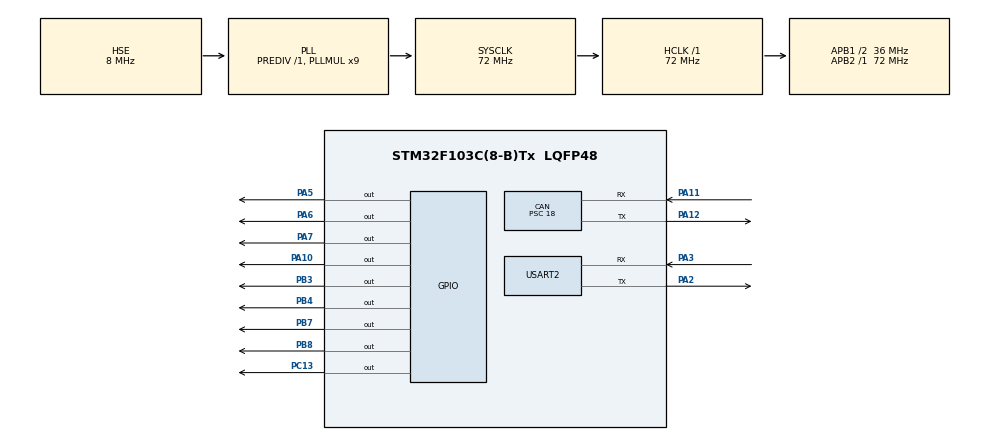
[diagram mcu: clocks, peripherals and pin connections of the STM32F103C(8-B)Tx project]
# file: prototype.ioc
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CAN.BS1=CAN_BS1_2TQ
CAN.CalculateBaudRate=500000
CAN.CalculateTimeBit=2000
CAN.CalculateTimeQuantum=500.0
CAN.Prescaler=18
Mcu.Family=STM32F1
Mcu.Name=STM32F103C(8-B)Tx
Mcu.Package=LQFP48
NVIC.PriorityGroup=NVIC_PRIORITYGROUP_4
NVIC.TIM2_IRQn=true\:0\:0\:false\:false\:true\:true\:true\:true
NVIC.TIM3_IRQn=true\:0\:0\:false\:false\:true\:true\:true\:true
NVIC.USART2_IRQn=true\:0\:0\:false\:false\:true\:true\:true\:true
NVIC.USB_LP_CAN1_RX0_IRQn=true\:0\:0\:false\:false\:true\:true\:true\:true
PA10.Signal=GPIO_Output
PA11.Mode=CAN_Activate
PA11.Signal=CAN_RX
PA12.Mode=CAN_Activate
PA12.Signal=CAN_TX
PA13.Mode=Serial_Wire
PA13.Signal=SYS_JTMS-SWDIO
PA14.Mode=Serial_Wire
PA14.Signal=SYS_JTCK-SWCLK
PA2.Mode=Asynchronous
PA2.Signal=USART2_TX
PA3.Mode=Asynchronous
PA3.Signal=USART2_RX
PA5.GPIO_PuPd=GPIO_PULLUP
PA5.PinState=GPIO_PIN_SET
PA5.Signal=GPIO_Output
PA6.Signal=GPIO_Output
PA7.Signal=GPIO_Output
PB3.Signal=GPIO_Output
PB4.Signal=GPIO_Output
PB7.Signal=GPIO_Output
PB8.Signal=GPIO_Output
PC13-TAMPER-RTC.Signal=GPIO_Output
PD0-OSC_IN.Mode=HSE-External-Oscillator
PD0-OSC_IN.Signal=RCC_OSC_IN
PD1-OSC_OUT.Mode=HSE-External-Oscillator
PD1-OSC_OUT.Signal=RCC_OSC_OUT
ProjectManager.HeapSize=0x200
ProjectManager.StackSize=0x400
ProjectManager.TargetToolchain=STM32CubeIDE
RCC.AHBFreq_Value=72000000
RCC.APB1CLKDivider=RCC_HCLK_DIV2
RCC.APB1Freq_Value=36000000
RCC.APB1TimFreq_Value=72000000
RCC.APB2Freq_Value=72000000
RCC.APB2TimFreq_Value=72000000
RCC.HCLKFreq_Value=72000000
RCC.PLLMUL=RCC_PLL_MUL9
RCC.PLLSourceVirtual=RCC_PLLSOURCE_HSE
RCC.SYSCLKFreq_VALUE=72000000
RCC.SYSCLKSource=RCC_SYSCLKSOURCE_PLLCLK
RCC.USBFreq_Value=72000000
TIM2.AutoReloadPreload=TIM_AUTORELOAD_PRELOAD_ENABLE
TIM2.Period=2000
TIM2.Prescaler=7200-1
TIM3.AutoReloadPreload=TIM_AUTORELOAD_PRELOAD_ENABLE
TIM3.Period=500
TIM3.Prescaler=7200-1
USART2.VirtualMode=VM_ASYNC
VP_TIM2_VS_ClockSourceINT.Mode=Internal
VP_TIM3_VS_ClockSourceINT.Mode=Internal
board=custom

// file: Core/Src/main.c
/* USER CODE BEGIN Header */
/**
******************************************************************************
* @file           : main.c
* @brief          : Main program body
******************************************************************************
* @attention
*
* Copyright (c) 2023 STMicroelectronics.
* All rights reserved.
*
* This software is licensed under terms that can be found in the LICENSE file
* in the root directory of this software component.
* If no LICENSE file comes with this software, it is provided AS-IS.
*
******************************************************************************
*/
/* USER CODE END Header */
#include "main.h"

/* USER CODE BEGIN Includes */
#include "CanFilterConfig.h"
#include "sheduler/sheduler.h"
/* USER CODE END Includes */

CAN_HandleTypeDef hcan;

TIM_HandleTypeDef htim2;
TIM_HandleTypeDef htim3;

UART_HandleTypeDef huart2;

/* USER CODE BEGIN PV */
ROM_sheduler sheduler;
uint8_t UART2_rxBuffer[8] = {0};
/* USER CODE END PV */

void SystemClock_Config(void);
static void MX_GPIO_Init(void);
static void MX_CAN_Init(void);
static void MX_TIM2_Init(void);
static void MX_TIM3_Init(void);
static void MX_USART2_UART_Init(void);
/* USER CODE BEGIN PFP */
void system_callback(void);
/* USER CODE END PFP */

/* USER CODE BEGIN 0 */
void reset_all_select_pins(void){
	for(uint8_t i=0; i<MAX_SLAVE_NUM; i++)
		HAL_GPIO_WritePin(GPIOB, sheduler.slave_pins[i], GPIO_PIN_RESET);
}

void set_current_pin(void){
	HAL_GPIO_WritePin(GPIOB, sheduler.slave_pins[sheduler.selected_pin], GPIO_PIN_SET);
	sheduler.selected_pin++;
}

void add_slave_to_sheduler(void){
	HAL_TIM_Base_Stop_IT(&htim2);
	// deselect any slave
	reset_all_select_pins();
	// add slave to sheduler
	add_idle_slave(&sheduler, RxHeader.StdId, sheduler.number_of_slaves);
	// if the next slave is the last one, change sheduler state
	if(sheduler.number_of_slaves == MAX_SLAVE_NUM || sheduler.selected_pin == MAX_SLAVE_NUM){
		HAL_GPIO_WritePin(GPIOC, GPIO_PIN_13, GPIO_PIN_SET);
		sheduler.selected_pin = -1;
		HAL_TIM_Base_Start_IT(&htim3);
		uint8_t msg[1];
		msg[0] = INTERFACE_READY_SIGNAL;
		HAL_UART_Transmit(&huart2, (uint8_t*)msg, 1, 10);
		HAL_GPIO_WritePin(GPIOC, GPIO_PIN_13, GPIO_PIN_SET);
		return;
	}
	set_current_pin();
	HAL_TIM_Base_Start_IT(&htim2);
}

void send_opcode_to_slave(void){
	// extract operation to be sent from the priority queue and the slave from the slave stack
	sheduler.process_being_sent = sheduler.operation_blocks[priority_queue_peak(&sheduler.operations)];
	uint8_t operation_id = priority_queue_peak(&sheduler.operations);
	uint8_t slave_recieving_number = stack_peak(&sheduler.idle_slaves_stack);
	// if the current operation needs more slaves than available, move on
	if(sheduler.number_of_idle_slaves < sheduler.process_being_sent.number_of_working_slaves){
		sheduler.sheduler_state = IDLE_STATE;
		return;
	}
	// extract operation data to be sent
	uint8_t data[8];
	data[0] = (uint8_t)FRAME_SIGNAL;
	data[1] = sheduler.operation_blocks[operation_id].operation_ID;
	data[2] = (uint8_t)(sheduler.operation_blocks[operation_id].operation_length >> 8);
	data[3] = (uint8_t)(sheduler.operation_blocks[operation_id].operation_length & 0xFF);
	// set state to waiting ack then send to ensure interrupt works
	Can_Send(&hcan, sheduler.slave_blocks[slave_recieving_number].slave_ID, 4, data, &Can_TxMailBox[0]);
	sheduler.sheduler_state = WAITING_ACK_STATE;
	return;
}

void give_rom_to_slave(void){
	give_slave_access_to_ROM(&sheduler);
	// send ROM signal to the slave to be in the ROM
	uint8_t data[8];
	data[0] = ROM_SIGNAL;
	Can_Send(&hcan, sheduler.slave_blocks[sheduler.current_slave_in_ROM].slave_ID, 1, data, &Can_TxMailBox[0]);
}

void add_slave_to_waiting_queue(void){
//		HAL_GPIO_WritePin(GPIOC, GPIO_PIN_13, GPIO_PIN_SET);
	uint8_t operation_id = priority_queue_peak(&sheduler.operations);
	uint8_t slave_recieving_number = stack_pop(&sheduler.idle_slaves_stack);
	// give the slave the current operation
	give_slave_opcode(&sheduler, sheduler.operation_blocks[operation_id], slave_recieving_number);
	// change state to sending code again if there are still operations to send and slaves to receive
	// if slave received the opcode, the slave sends a RCV_ACK
	if(sheduler.is_ROM_available){
		// move the slave from the waiting queue
		give_rom_to_slave();
	}
	if(sheduler.number_of_idle_slaves != 0 && sheduler.number_of_available_operations != 0)
		sheduler.sheduler_state = SENDING_CODE_STATE;
	else
		sheduler.sheduler_state = IDLE_STATE;
	return;
}

void set_slave_busy(void){
	// set rom is available
	sheduler.is_ROM_available = 1;
	// change the slave's state to idle
	sheduler.slave_blocks[sheduler.current_slave_in_ROM].slave_state = SLAVE_WORKING;
	// if there are more waiting slaves, give one access to ROM
	if(sheduler.number_of_waiting_slaves != 0)
		give_rom_to_slave();
}

void select_reset_slave(uint32_t id){
	for(uint8_t i=0; i<sheduler.number_of_slaves; i++){
		if(sheduler.slave_blocks[i].slave_ID == id){
			sheduler.selected_pin = sheduler.slave_blocks[i].pin;
			break;
		}
	}
	reset_all_select_pins();
	set_current_pin();
}

void send_status_to_interface(void){
	for(uint8_t i=0; i<MAX_SLAVE_NUM; i++){
		if(sheduler.slave_blocks[i].slave_ID == -1){
			continue;
		}
		uint8_t msg[5];
		msg[0] = INTERFACE_STATUS_MSG;
		msg[1] = sheduler.slave_blocks[i].slave_number;
		msg[2] = sheduler.slave_blocks[i].slave_state;
		msg[3] = sheduler.slave_blocks[i].current_opcode;
		if(i != MAX_SLAVE_NUM - 1){
			msg[4] = INTERFACE_MORE_SIGNAL;
			HAL_UART_Transmit(&huart2, (uint8_t*)msg, 5, 10);
			continue;
		}
		msg[4] = INTERFACE_DONE_SIGNAL;
		HAL_UART_Transmit(&huart2, (uint8_t*)msg, 5, 10);
	}
}

void send_slave_ids_to_interface(void){
	for(uint8_t i=0; i<MAX_SLAVE_NUM; i++){
		if(sheduler.slave_blocks[i].slave_ID == -1){
			continue;
		}
		uint8_t msg[10];
		msg[0] = INTERFACE_ID_MSG;
		msg[1] = sheduler.slave_blocks[i].slave_ID;
		msg[2] = sheduler.slave_blocks[i].slave_number;
		msg[3] = 0;
		msg[4] = 0;
		msg[5] = 0;
		msg[6] = 0;
		msg[7] = 0;
		msg[8] = 0;
		if(i < MAX_SLAVE_NUM - 1) {
			msg[9] = INTERFACE_MORE_SIGNAL;
		}
		else {
			msg[9] = INTERFACE_DONE_SIGNAL;
		}
		HAL_UART_Transmit(&huart2, (uint8_t*)msg, 10, 10);
		while(1) {
			HAL_UART_Receive(&huart2, UART2_rxBuffer, 8, 10);
			if(UART2_rxBuffer[0] == INTERFACE_ACK) {
				break;
			}
		}
	}
}

void kill_slave_process(uint8_t slave_number){
	uint8_t data[8];
	data[0] = RESET_SIGNAL;
	Can_Send(&hcan, sheduler.slave_blocks[slave_number].slave_ID, 1, data, &Can_TxMailBox[0]);
	set_slave_idle(&sheduler, slave_number);
}

void run_operation(uint8_t slave_id, uint8_t index, uint8_t length_high, uint8_t length_low, uint8_t priority, uint8_t number_of_slaves){
	// if slave is selected by id, run it immediately
	if(slave_id != MAX_SLAVE_NUM){
		uint8_t data[8];
		data[0] = (uint8_t)FRAME_SIGNAL;
		data[1] = index;
		data[2] = length_high;
		data[3] = length_low;
		Can_Send(&hcan, sheduler.slave_blocks[slave_id-1].slave_ID, 4, data, &Can_TxMailBox[0]);
		sheduler.sheduler_state = WAITING_ACK_STATE;
		return;
	}
	operation_control_block operation;
	operation.operation_ID = index;
	uint16_t length = 0;
	length = (length_high << 8) | length_low;
	operation.operation_length = length;
	operation.number_of_working_slaves = number_of_slaves;
	operation.operation_priority = priority;
	add_operation(&sheduler, operation);
}

void alert_slave_finished(uint8_t slave_number){
	uint8_t msg[10];
	msg[0] = INTERFACE_SLAVE_DONE;
	msg[1] = slave_number;
	msg[2] = 0;
	msg[3] = 0;
	msg[4] = 0;
	msg[5] = 0;
	msg[6] = 0;
	msg[7] = 0;
	msg[8] = 0;
	msg[9] = 0;
	HAL_UART_Transmit(&huart2, (uint8_t*)msg, 10, 10);
}
/* USER CODE END 0 */

int main(void)
{

  /* MCU Configuration--------------------------------------------------------*/

  /* Reset of all peripherals, Initializes the Flash interface and the Systick. */
  HAL_Init();

  /* Configure the system clock */
  SystemClock_Config();

  /* Initialize all configured peripherals */
  MX_GPIO_Init();
  MX_CAN_Init();
  MX_TIM2_Init();
  MX_TIM3_Init();
  MX_USART2_UART_Init();
  /* USER CODE BEGIN 2 */
  Can_Filter_Config(&hcan, master);
//   initiate can receive callback
  Can_InterruptCallBack(system_callback);
//   select pins for initialization
  sheduler_init(&sheduler);
//   create 2 dummy operations then add it to the operation priority queue
//   this approach is used since the interface microcontroller is not ready
  operation_control_block operation;
  operation.operation_ID = 0x00;
  operation.operation_length = 0x1900;
  operation.number_of_working_slaves = 1;
  operation.operation_priority = 1;
  add_operation(&sheduler, operation);
  add_operation(&sheduler, operation);
  add_operation(&sheduler, operation);
  add_operation(&sheduler, operation);
//   select the first slave
  reset_all_select_pins();
  set_current_pin();
  HAL_TIM_Base_Start_IT(&htim2);
  HAL_UART_Receive_IT(&huart2, UART2_rxBuffer, 8);
  HAL_GPIO_WritePin(GPIOC, GPIO_PIN_13, GPIO_PIN_SET);
  /* USER CODE END 2 */

  /* Infinite loop */
  while (1){

  }
}

void SystemClock_Config(void)
{
  RCC_OscInitTypeDef RCC_OscInitStruct = {0};
  RCC_ClkInitTypeDef RCC_ClkInitStruct = {0};

  /** Initializes the RCC Oscillators according to the specified parameters
  * in the RCC_OscInitTypeDef structure.
  */
  RCC_OscInitStruct.OscillatorType = RCC_OSCILLATORTYPE_HSE;
  RCC_OscInitStruct.HSEState = RCC_HSE_ON;
  RCC_OscInitStruct.HSEPredivValue = RCC_HSE_PREDIV_DIV1;
  RCC_OscInitStruct.HSIState = RCC_HSI_ON;
  RCC_OscInitStruct.PLL.PLLState = RCC_PLL_ON;
  RCC_OscInitStruct.PLL.PLLSource = RCC_PLLSOURCE_HSE;
  RCC_OscInitStruct.PLL.PLLMUL = RCC_PLL_MUL9;
  if (HAL_RCC_OscConfig(&RCC_OscInitStruct) != HAL_OK)
  {
    Error_Handler();
  }

  /** Initializes the CPU, AHB and APB buses clocks
  */
  RCC_ClkInitStruct.ClockType = RCC_CLOCKTYPE_HCLK|RCC_CLOCKTYPE_SYSCLK
                              |RCC_CLOCKTYPE_PCLK1|RCC_CLOCKTYPE_PCLK2;
  RCC_ClkInitStruct.SYSCLKSource = RCC_SYSCLKSOURCE_PLLCLK;
  RCC_ClkInitStruct.AHBCLKDivider = RCC_SYSCLK_DIV1;
  RCC_ClkInitStruct.APB1CLKDivider = RCC_HCLK_DIV2;
  RCC_ClkInitStruct.APB2CLKDivider = RCC_HCLK_DIV1;

  if (HAL_RCC_ClockConfig(&RCC_ClkInitStruct, FLASH_LATENCY_2) != HAL_OK)
  {
    Error_Handler();
  }
}

static void MX_CAN_Init(void)
{

  hcan.Instance = CAN1;
  hcan.Init.Prescaler = 18;
  hcan.Init.Mode = CAN_MODE_NORMAL;
  hcan.Init.SyncJumpWidth = CAN_SJW_1TQ;
  hcan.Init.TimeSeg1 = CAN_BS1_2TQ;
  hcan.Init.TimeSeg2 = CAN_BS2_1TQ;
  hcan.Init.TimeTriggeredMode = DISABLE;
  hcan.Init.AutoBusOff = DISABLE;
  hcan.Init.AutoWakeUp = DISABLE;
  hcan.Init.AutoRetransmission = DISABLE;
  hcan.Init.ReceiveFifoLocked = DISABLE;
  hcan.Init.TransmitFifoPriority = DISABLE;
  if (HAL_CAN_Init(&hcan) != HAL_OK)
  {
    Error_Handler();
  }

}

static void MX_TIM2_Init(void)
{

  TIM_ClockConfigTypeDef sClockSourceConfig = {0};
  TIM_MasterConfigTypeDef sMasterConfig = {0};

  htim2.Instance = TIM2;
  htim2.Init.Prescaler = 7200-1;
  htim2.Init.CounterMode = TIM_COUNTERMODE_UP;
  htim2.Init.Period = 2000;
  htim2.Init.ClockDivision = TIM_CLOCKDIVISION_DIV1;
  htim2.Init.AutoReloadPreload = TIM_AUTORELOAD_PRELOAD_ENABLE;
  if (HAL_TIM_Base_Init(&htim2) != HAL_OK)
  {
    Error_Handler();
  }
  sClockSourceConfig.ClockSource = TIM_CLOCKSOURCE_INTERNAL;
  if (HAL_TIM_ConfigClockSource(&htim2, &sClockSourceConfig) != HAL_OK)
  {
    Error_Handler();
  }
  sMasterConfig.MasterOutputTrigger = TIM_TRGO_RESET;
  sMasterConfig.MasterSlaveMode = TIM_MASTERSLAVEMODE_DISABLE;
  if (HAL_TIMEx_MasterConfigSynchronization(&htim2, &sMasterConfig) != HAL_OK)
  {
    Error_Handler();
  }

}

static void MX_TIM3_Init(void)
{

  TIM_ClockConfigTypeDef sClockSourceConfig = {0};
  TIM_MasterConfigTypeDef sMasterConfig = {0};

  htim3.Instance = TIM3;
  htim3.Init.Prescaler = 7200-1;
  htim3.Init.CounterMode = TIM_COUNTERMODE_UP;
  htim3.Init.Period = 500;
  htim3.Init.ClockDivision = TIM_CLOCKDIVISION_DIV1;
  htim3.Init.AutoReloadPreload = TIM_AUTORELOAD_PRELOAD_ENABLE;
  if (HAL_TIM_Base_Init(&htim3) != HAL_OK)
  {
    Error_Handler();
  }
  sClockSourceConfig.ClockSource = TIM_CLOCKSOURCE_INTERNAL;
  if (HAL_TIM_ConfigClockSource(&htim3, &sClockSourceConfig) != HAL_OK)
  {
    Error_Handler();
  }
  sMasterConfig.MasterOutputTrigger = TIM_TRGO_RESET;
  sMasterConfig.MasterSlaveMode = TIM_MASTERSLAVEMODE_DISABLE;
  if (HAL_TIMEx_MasterConfigSynchronization(&htim3, &sMasterConfig) != HAL_OK)
  {
    Error_Handler();
  }

}

static void MX_USART2_UART_Init(void)
{

  huart2.Instance = USART2;
  huart2.Init.BaudRate = 115200;
  huart2.Init.WordLength = UART_WORDLENGTH_8B;
  huart2.Init.StopBits = UART_STOPBITS_1;
  huart2.Init.Parity = UART_PARITY_NONE;
  huart2.Init.Mode = UART_MODE_TX_RX;
  huart2.Init.HwFlowCtl = UART_HWCONTROL_NONE;
  huart2.Init.OverSampling = UART_OVERSAMPLING_16;
  if (HAL_UART_Init(&huart2) != HAL_OK)
  {
    Error_Handler();
  }

}

static void MX_GPIO_Init(void)
{
  GPIO_InitTypeDef GPIO_InitStruct = {0};

  /* GPIO Ports Clock Enable */
  __HAL_RCC_GPIOC_CLK_ENABLE();
  __HAL_RCC_GPIOD_CLK_ENABLE();
  __HAL_RCC_GPIOA_CLK_ENABLE();
  __HAL_RCC_GPIOB_CLK_ENABLE();

  /*Configure GPIO pin Output Level */
  HAL_GPIO_WritePin(GPIOC, GPIO_PIN_13, GPIO_PIN_RESET);

  /*Configure GPIO pin Output Level */
  HAL_GPIO_WritePin(GPIOA, GPIO_PIN_5, GPIO_PIN_SET);

  /*Configure GPIO pin Output Level */
  HAL_GPIO_WritePin(GPIOA, GPIO_PIN_6|GPIO_PIN_7|GPIO_PIN_10, GPIO_PIN_RESET);

  /*Configure GPIO pin Output Level */
  HAL_GPIO_WritePin(GPIOB, GPIO_PIN_3|GPIO_PIN_4|GPIO_PIN_7|GPIO_PIN_8, GPIO_PIN_RESET);

  /*Configure GPIO pin : PC13 */
  GPIO_InitStruct.Pin = GPIO_PIN_13;
  GPIO_InitStruct.Mode = GPIO_MODE_OUTPUT_PP;
  GPIO_InitStruct.Pull = GPIO_NOPULL;
  GPIO_InitStruct.Speed = GPIO_SPEED_FREQ_LOW;
  HAL_GPIO_Init(GPIOC, &GPIO_InitStruct);

  /*Configure GPIO pin : PA5 */
  GPIO_InitStruct.Pin = GPIO_PIN_5;
  GPIO_InitStruct.Mode = GPIO_MODE_OUTPUT_PP;
  GPIO_InitStruct.Pull = GPIO_PULLUP;
  GPIO_InitStruct.Speed = GPIO_SPEED_FREQ_LOW;
  HAL_GPIO_Init(GPIOA, &GPIO_InitStruct);

  /*Configure GPIO pins : PA6 PA7 PA10 */
  GPIO_InitStruct.Pin = GPIO_PIN_6|GPIO_PIN_7|GPIO_PIN_10;
  GPIO_InitStruct.Mode = GPIO_MODE_OUTPUT_PP;
  GPIO_InitStruct.Pull = GPIO_NOPULL;
  GPIO_InitStruct.Speed = GPIO_SPEED_FREQ_LOW;
  HAL_GPIO_Init(GPIOA, &GPIO_InitStruct);

  /*Configure GPIO pins : PB3 PB4 PB7 PB8 */
  GPIO_InitStruct.Pin = GPIO_PIN_3|GPIO_PIN_4|GPIO_PIN_7|GPIO_PIN_8;
  GPIO_InitStruct.Mode = GPIO_MODE_OUTPUT_PP;
  GPIO_InitStruct.Pull = GPIO_NOPULL;
  GPIO_InitStruct.Speed = GPIO_SPEED_FREQ_LOW;
  HAL_GPIO_Init(GPIOB, &GPIO_InitStruct);

}

/* USER CODE BEGIN 4 */

/**
 * Scheduler <--> Slave Communications
 **/
void system_callback(){
	// INIT state adds slaves to the slave control block
	if(sheduler.sheduler_state == INIT_STATE){
		add_slave_to_sheduler();
		return;
	}
	// if the reset slave sends ack it was reset
	if(Can_RxData[0] == RESET_SIGNAL){
		set_slave_idle_by_id(&sheduler, RxHeader.StdId);
		return;
	}
	// send opcode to any slave
	if(sheduler.sheduler_state == SENDING_CODE_STATE){
		send_opcode_to_slave();
		return;
	}
	// received ACK and now adding the slave to the waiting queue
	if(sheduler.sheduler_state == WAITING_ACK_STATE && Can_RxData[0] == RCVD_ACK){
		add_slave_to_waiting_queue();
		return;
	}
	// if slave is finished accessing the ROM
	if(Can_RxData[0] == MEM_FREE_ACK){
		set_slave_busy();
		return;
	}
	// if slave finished working on operation
	if(Can_RxData[0] == WORK_DONE_ACK){
		set_slave_idle(&sheduler, Can_RxData[1]);
		alert_slave_finished(RxHeader.StdId);
		return;
	}
}

/*
 * Scheduler <--> Interface Communications
 */
void HAL_UART_RxCpltCallback(UART_HandleTypeDef *huart){
	if(UART2_rxBuffer[0] == INTERFACE_START_SIGNAL){
		sheduler.sheduler_state = IDLE_STATE;
		HAL_GPIO_WritePin(GPIOC, GPIO_PIN_13, GPIO_PIN_SET);
		send_slave_ids_to_interface();
		HAL_GPIO_WritePin(GPIOC, GPIO_PIN_13, GPIO_PIN_RESET);
		return;
	}
	if(UART2_rxBuffer[0] == INTERFACE_STATUS_SIGNAL){
		send_status_to_interface();
		return;
	}
	if(UART2_rxBuffer[0] == INTERFACE_RUN_SIGNAL){
		run_operation(UART2_rxBuffer[1], UART2_rxBuffer[2], UART2_rxBuffer[3], UART2_rxBuffer[4], UART2_rxBuffer[5], UART2_rxBuffer[6]);
		return;
	}
	if(UART2_rxBuffer[0] == INTERFACE_KILL_SIGNAL){
		kill_slave_process(UART2_rxBuffer[1]);
		return;
	}
	if(UART2_rxBuffer[0] == INTERFACE_ROM_SIGNAL) {
		uint8_t data[1] = {0};
		if(sheduler.is_ROM_available && sheduler.number_of_waiting_slaves == 0) {
			data[0] = 1;
		}
		HAL_UART_Transmit(huart, data, 1, 10);
	}
	HAL_UART_Receive_IT(&huart2, UART2_rxBuffer, 8);
}

/*
 * Scheduler tick time
 */
void HAL_TIM_PeriodElapsedCallback(TIM_HandleTypeDef *htim){
    if(htim->Instance == TIM2){
    	if(sheduler.sheduler_state == INIT_STATE) {
    		reset_all_select_pins();
    		set_current_pin();
    		if(sheduler.selected_pin >= MAX_SLAVE_NUM) {
    			uint8_t msg[10];
    			msg[0] = INTERFACE_READY_SIGNAL;
    			msg[1] = 0;
    			msg[2] = 0;
    			msg[3] = 0;
    			msg[4] = 0;
    			msg[5] = 0;
    			msg[6] = 0;
    			msg[7] = 0;
    			msg[8] = 0;
    			msg[9] = 0;
				HAL_UART_Transmit(&huart2, (uint8_t*)msg, 10, 10);
				HAL_GPIO_TogglePin(GPIOC, GPIO_PIN_13);
			}
    		return;
    	}
    	return;
    }
    if(htim->Instance == TIM3){
    	if(sheduler.sheduler_state == IDLE_STATE && sheduler.number_of_idle_slaves != 0 && sheduler.number_of_available_operations != 0){
    		sheduler.sheduler_state = SENDING_CODE_STATE;
    		send_opcode_to_slave();
			return;
    	}
    	return;
    }
}

/* USER CODE END 4 */

void Error_Handler(void)
{
	__disable_irq();
	while (1)
	{
	}
}
